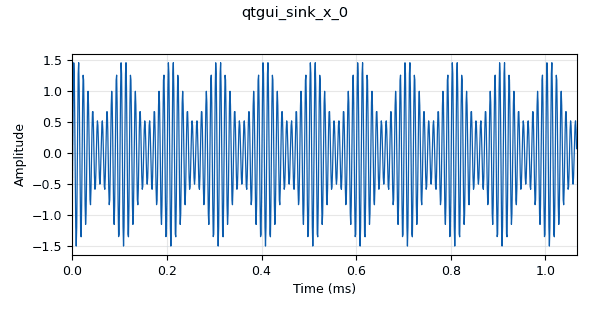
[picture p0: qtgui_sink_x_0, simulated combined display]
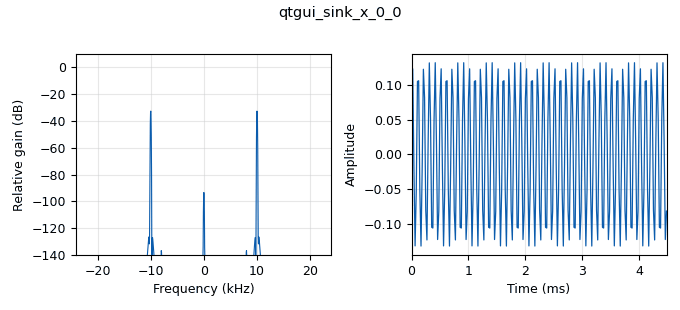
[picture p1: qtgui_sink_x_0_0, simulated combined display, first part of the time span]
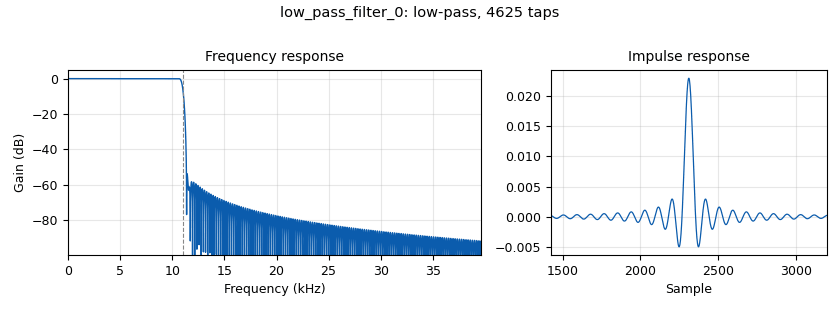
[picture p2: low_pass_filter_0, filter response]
options:
  parameters:
    author: osboxes
    generate_options: qt_gui
    id: dsb_fc_SP
    output_language: python
    title: Not titled yet
  states: {}

blocks:
- name: audio_rate
  id: variable
  parameters:
    value: '48000'
  states: {}
- name: quadrature_rate
  id: variable
  parameters:
    value: '960000'
  states: {}
- name: analog_sig_source_x_0
  id: analog_sig_source_x
  parameters:
    amp: '1'
    freq: '10000'
    offset: '0'
    phase: '0'
    samp_rate: audio_rate
    type: float
    waveform: analog.GR_COS_WAVE
  states: {}
- name: analog_sig_source_x_1
  id: analog_sig_source_x
  parameters:
    amp: '1'
    freq: '100000'
    offset: '0'
    phase: '0'
    samp_rate: quadrature_rate
    type: float
    waveform: analog.GR_COS_WAVE
  states: {}
- name: blocks_add_const_vxx_0
  id: blocks_add_const_vxx
  parameters:
    const: '1'
    type: float
  states: {}
- name: blocks_multiply_const_vxx_0
  id: blocks_multiply_const_vxx
  parameters:
    const: '0.5'
    type: float
  states: {}
- name: blocks_multiply_xx_0
  id: blocks_multiply_xx
  parameters:
    type: float
  states: {}
- name: blocks_multiply_xx_1
  id: blocks_multiply_xx
  parameters:
    type: float
  states: {}
- name: dc_blocker_xx_0
  id: dc_blocker_xx
  parameters:
    length: '32'
    long_form: 'True'
    type: ff
  states: {}
- name: low_pass_filter_0
  id: low_pass_filter
  parameters:
    cutoff_freq: '11000'
    decim: '20'
    gain: '1'
    samp_rate: quadrature_rate
    type: fir_filter_fff
    width: '500'
    win: window.WIN_HAMMING
  states: {}
- name: qtgui_sink_x_0
  id: qtgui_sink_x
  parameters:
    bw: quadrature_rate
    fc: '0'
    fftsize: '1024'
    gui_hint: tab@0
    plotfreq: 'False'
    type: float
  states: {}
- name: qtgui_sink_x_0_0
  id: qtgui_sink_x
  parameters:
    bw: audio_rate
    fc: '0'
    fftsize: '1024'
    gui_hint: tab@1
    type: float
  states: {}
- name: rational_resampler_xxx_0
  id: rational_resampler_xxx
  parameters:
    decim: '1'
    interp: '20'
    type: fff
  states: {}
- name: tab
  id: qtgui_tab_widget
  parameters:
    label0: Modulated
    label1: Demodulated
    num_tabs: '2'
  states: {}

connections:
- [analog_sig_source_x_0, '0', blocks_multiply_const_vxx_0, '0']
- [analog_sig_source_x_1, '0', blocks_multiply_xx_0, '1']
- [analog_sig_source_x_1, '0', blocks_multiply_xx_1, '1']
- [blocks_add_const_vxx_0, '0', rational_resampler_xxx_0, '0']
- [blocks_multiply_const_vxx_0, '0', blocks_add_const_vxx_0, '0']
- [blocks_multiply_xx_0, '0', blocks_multiply_xx_1, '0']
- [blocks_multiply_xx_0, '0', qtgui_sink_x_0, '0']
- [blocks_multiply_xx_1, '0', dc_blocker_xx_0, '0']
- [dc_blocker_xx_0, '0', low_pass_filter_0, '0']
- [low_pass_filter_0, '0', qtgui_sink_x_0_0, '0']
- [rational_resampler_xxx_0, '0', blocks_multiply_xx_0, '0']

metadata:
  file_format: 1
  grc_version: 3.10.3.0
